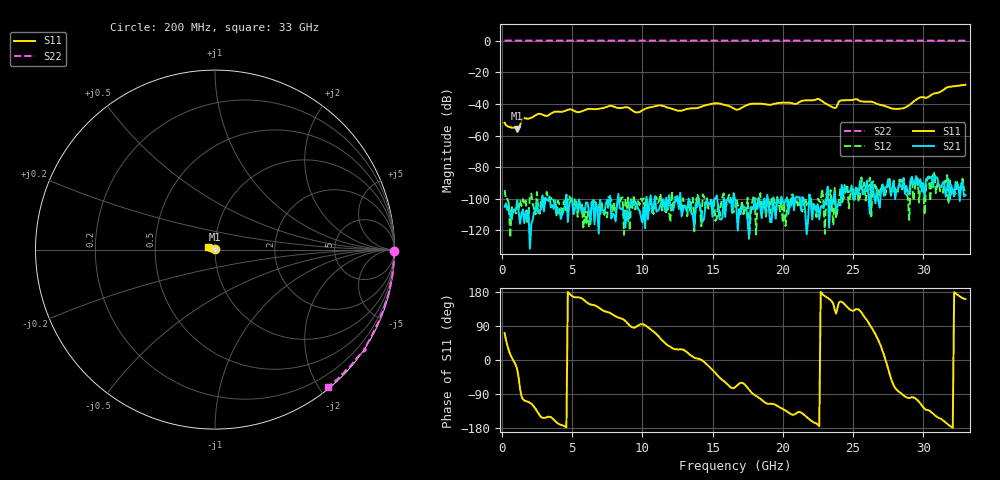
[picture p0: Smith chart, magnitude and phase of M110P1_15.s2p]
# GHZ S RI R 50
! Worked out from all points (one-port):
!   329 points, 200 MHz to 33 GHz, reference 50 ohm
!   lowest |S11| = -55.8 dB at 1.1 GHz (marker M1), VSWR 1.00, Z = 50.1 - j0.0691 ohm
!   |S11| at or under -10 dB: start of sweep to end of sweep
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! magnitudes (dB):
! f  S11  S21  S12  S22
! 200 MHz  -51.8  -105.0  -94.4  0.0
! 1.1 GHz  -55.8  -100.9  -108.8  0.0
! 1.5 GHz  -49.3  -106.7  -100.1  0.0
! 2.6 GHz  -46.3  -109.0  -107.3  0.0
! 5.7 GHz  -44.7  -108.8  -103.6  0.0
! 7.7 GHz  -41.2  -98.1  -98.9  0.0
! 9.7 GHz  -45.4  -106.5  -101.5  0.0
! 11.2 GHz  -41.0  -106.3  -101.1  0.0
! 12.7 GHz  -44.3  -96.2  -100.1  0.0
! 15.3 GHz  -39.6  -97.9  -112.5  0.0
! 16.6 GHz  -43.4  -100.2  -105.0  0.0
! 17.8 GHz  -39.9  -105.2  -103.2  0.0
! 20.9 GHz  -40.0  -99.4  -102.3  0.0
! 22.1 GHz  -37.7  -113.0  -105.8  0.0
! 22.6 GHz  -37.0  -113.0  -101.5  0.0
! 23.7 GHz  -42.6  -95.8  -92.6  0.0
! 24.1 GHz  -37.9  -104.2  -94.0  0.0
! 25.1 GHz  -37.1  -100.7  -100.5  0.0
! 27.6 GHz  -42.4  -90.6  -86.5  0.0
! 28.6 GHz  -42.8  -86.9  -87.1  -0.1
! 29.8 GHz  -35.9  -87.7  -90.1  -0.1
! 33 GHz  -27.9  -97.7  -94.3  -0.1
